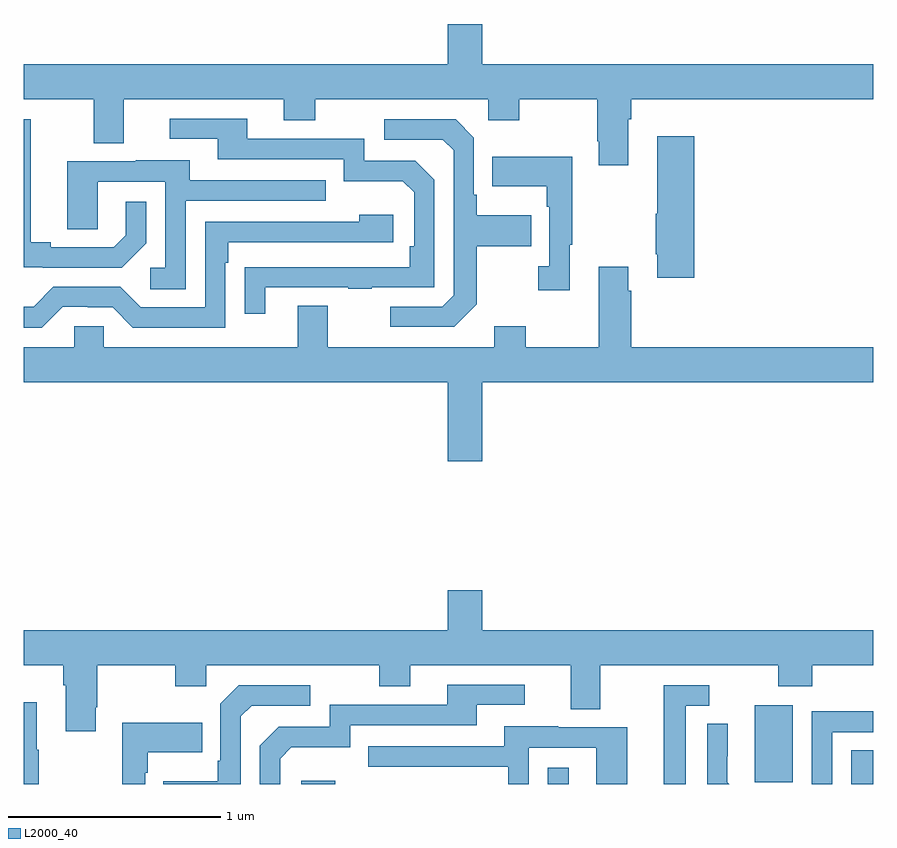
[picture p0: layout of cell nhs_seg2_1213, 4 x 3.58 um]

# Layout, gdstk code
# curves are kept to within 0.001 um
import gdstk
lib = gdstk.Library(unit=1e-6, precision=1e-09)
def R(c, l, rs):  # rectangles x0, y0, x1, y1
    for r in rs: c.add(gdstk.rectangle(r[:2], r[2:], *l))
def P(c, l, *ps):  # polygons
    for p in ps: c.add(gdstk.Polygon(p, *l))
L2000_40 = (2000, 40)

nhs_seg2_1213 = lib.new_cell('nhs_seg2_1213')
R(nhs_seg2_1213, L2000_40, [(176.307,589.8,176.468,589.816), (177.468,589.8,177.565,589.876), (178.895,589.8,179,589.958), (178.442,589.809,178.621,590.17)])
P(nhs_seg2_1213, L2000_40, [(177.847,592.928),(177.86,592.928),(177.86,593.024),(179,593.024),(179,593.188),(177.16,593.188),(177.16,593.377),(176.996,593.377),(176.996,593.188),(175,593.188),(175,593.024),(175.331,593.024),(175.331,592.816),(175.471,592.816),(175.471,593.024),(176.225,593.024),(176.225,592.925),(176.373,592.925),(176.373,593.024),(177.186,593.024),(177.186,592.925),(177.333,592.925),(177.333,593.024),(177.7,593.024),(177.7,592.825),(177.707,592.825),(177.707,592.713),(177.847,592.713)],
  [(176.137,592.137),(176.527,592.137),(176.527,592.132),(176.639,592.132),(176.639,592.137),(176.934,592.137),(176.934,592.644),(176.844,592.734),(176.604,592.734),(176.604,592.836),(176.053,592.836),(176.053,592.932),(175.689,592.932),(175.689,592.836),(175.913,592.836),(175.913,592.74),(176.508,592.74),(176.508,592.637),(176.785,592.637),(176.838,592.584),(176.838,592.33),(176.818,592.33),(176.818,592.233),(176.041,592.232),(176.041,592.014),(176.137,592.014)],
  [(177.133,592.057),(177.133,592.33),(177.389,592.33),(177.389,592.477),(177.133,592.477),(177.133,592.573),(177.12,592.573),(177.12,592.842),(177.033,592.929),(176.697,592.929),(176.697,592.833),(176.973,592.833),(177.024,592.782),(177.024,592.101),(176.97,592.047),(176.727,592.047),(176.727,591.951),(177.027,591.951)],
  [(175.578,592.346),(175.578,592.54),(175.481,592.54),(175.481,592.383),(175.424,592.326),(175.129,592.326),(175.129,592.349),(175.033,592.349),(175.033,592.929),(175,592.929),(175,592.233),(175.09,592.233),(175.09,592.23),(175.462,592.23)],
  [(178.156,592.849),(177.983,592.849),(177.983,592.483),(177.976,592.483),(177.976,592.294),(177.983,592.294),(177.983,592.182),(178.156,592.182)],
  [(177.571,592.337),(177.583,592.337),(177.583,592.753),(177.205,592.753),(177.205,592.613),(177.462,592.613),(177.462,592.517),(177.474,592.517),(177.474,592.238),(177.423,592.238),(177.423,592.125),(177.571,592.125)],
  [(175.764,592.545),(176.423,592.545),(176.423,592.641),(175.783,592.641),(175.783,592.735),(175.529,592.735),(175.529,592.731),(175.205,592.731),(175.205,592.411),(175.35,592.411),(175.35,592.635),(175.668,592.635),(175.668,592.23),(175.596,592.23),(175.596,592.129),(175.764,592.129)],
  [(175.185,592.047),(175.301,592.047),(175.301,592.044),(175.419,592.044),(175.515,591.948),(175.95,591.948),(175.95,592.253),(175.963,592.253),(175.963,592.35),(176.74,592.35),(176.74,592.48),(176.579,592.48),(176.579,592.446),(175.854,592.446),(175.854,592.044),(175.551,592.044),(175.455,592.14),(175.14,592.14),(175.047,592.047),(175,592.047),(175,591.947),(175.085,591.947)],
  [(177.16,591.692),(179,591.692),(179,591.856),(177.86,591.856),(177.86,592.121),(177.847,592.121),(177.847,592.234),(177.707,592.234),(177.707,591.856),(177.363,591.856),(177.363,591.955),(177.215,591.955),(177.215,591.856),(176.431,591.856),(176.431,592.051),(176.291,592.051),(176.291,591.856),(175.377,591.856),(175.377,591.954),(175.239,591.954),(175.239,591.856),(175,591.856),(175,591.692),(176.996,591.692),(176.996,591.318),(177.16,591.318)],
  [(177.575,590.152),(177.715,590.152),(177.715,590.36),(178.552,590.36),(178.552,590.261),(178.712,590.261),(178.712,590.36),(179,590.36),(179,590.524),(177.16,590.524),(177.16,590.713),(176.996,590.713),(176.996,590.524),(175,590.524),(175,590.36),(175.187,590.36),(175.187,590.264),(175.199,590.264),(175.199,590.049),(175.339,590.049),(175.339,590.161),(175.347,590.161),(175.347,590.36),(175.714,590.36),(175.714,590.261),(175.86,590.261),(175.86,590.36),(176.674,590.36),(176.674,590.261),(176.821,590.261),(176.821,590.36),(177.575,590.36)],
  [(176.208,589.92),(176.261,589.973),(176.538,589.973),(176.538,590.076),(177.133,590.076),(177.133,590.172),(177.358,590.172),(177.358,590.268),(176.993,590.268),(176.993,590.172),(176.442,590.172),(176.442,590.07),(176.202,590.07),(176.112,589.98),(176.112,589.8),(176.208,589.8)],
  [(178.117,590.169),(178.228,590.169),(178.228,590.265),(178.013,590.265),(178.013,589.8),(178.117,589.8)],
  [(176.022,590.118),(176.073,590.169),(176.35,590.169),(176.35,590.265),(176.013,590.265),(175.926,590.178),(175.926,589.909),(175.914,589.909),(175.914,589.813),(175.657,589.813),(175.657,589.8),(176.022,589.8)],
  [(175.071,589.961),(175.063,589.961),(175.063,590.185),(175,590.185),(175,589.8),(175.071,589.8)],
  [(178.806,590.043),(179,590.043),(179,590.142),(178.71,590.142),(178.71,589.8),(178.806,589.8)],
  [(175.572,589.853),(175.585,589.853),(175.585,589.949),(175.841,589.949),(175.841,590.089),(175.464,590.089),(175.464,589.8),(175.572,589.8)],
  [(178.313,589.808),(178.313,589.93),(178.314,589.93),(178.314,590.084),(178.218,590.084),(178.218,589.8),(178.321,589.8)],
  [(177.378,589.971),(177.696,589.971),(177.696,589.8),(177.841,589.8),(177.841,590.067),(177.517,590.067),(177.517,590.071),(177.263,590.071),(177.263,589.977),(176.623,589.977),(176.623,589.881),(177.282,589.881),(177.282,589.8),(177.378,589.8)])

lib.write_gds('nhs_seg2_1213.gds')
